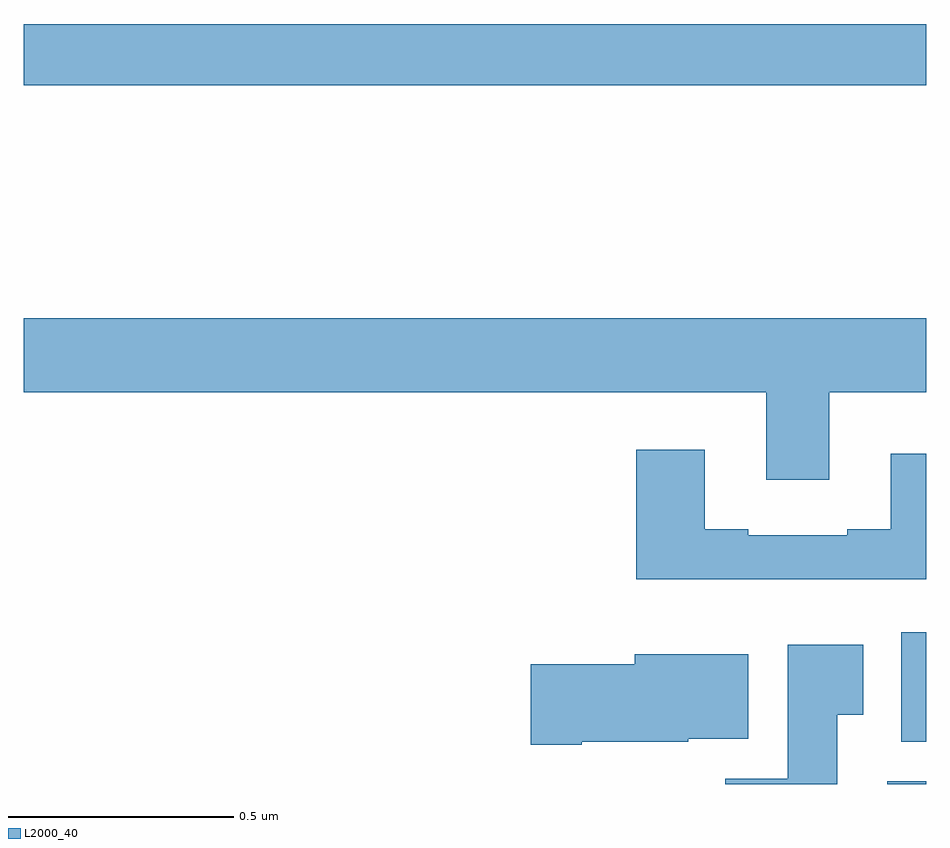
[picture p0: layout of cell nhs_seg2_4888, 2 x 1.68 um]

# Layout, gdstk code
import gdstk
lib = gdstk.Library(unit=1e-6, precision=1e-09)
def R(c, l, rs):  # rectangles x0, y0, x1, y1
    for r in rs: c.add(gdstk.rectangle(r[:2], r[2:], *l))
def P(c, l, *ps):  # polygons
    for p in ps: c.add(gdstk.Polygon(p, *l))
L2000_40 = (2000, 40)

nhs_seg2_4888 = lib.new_cell('nhs_seg2_4888')
R(nhs_seg2_4888, L2000_40, [(173.913,614.8,174,614.806), (173.945,614.894,174,615.136), (172,616.348,174,616.484)])
P(nhs_seg2_4888, L2000_40, [(173.785,615.668),(174,615.668),(174,615.832),(172,615.832),(172,615.668),(173.645,615.668),(173.645,615.474),(173.785,615.474)],
  [(174,615.532),(173.921,615.532),(173.921,615.364),(173.825,615.364),(173.825,615.351),(173.605,615.351),(173.605,615.364),(173.509,615.364),(173.509,615.541),(173.357,615.541),(173.357,615.254),(174,615.254)],
  [(173.803,614.953),(173.86,614.953),(173.86,615.109),(173.693,615.109),(173.693,614.812),(173.554,614.812),(173.554,614.8),(173.803,614.8)],
  [(173.236,614.894),(173.472,614.894),(173.472,614.9),(173.605,614.9),(173.605,615.088),(173.354,615.088),(173.354,615.065),(173.124,615.065),(173.124,614.887),(173.236,614.887)])

lib.write_gds('nhs_seg2_4888.gds')
